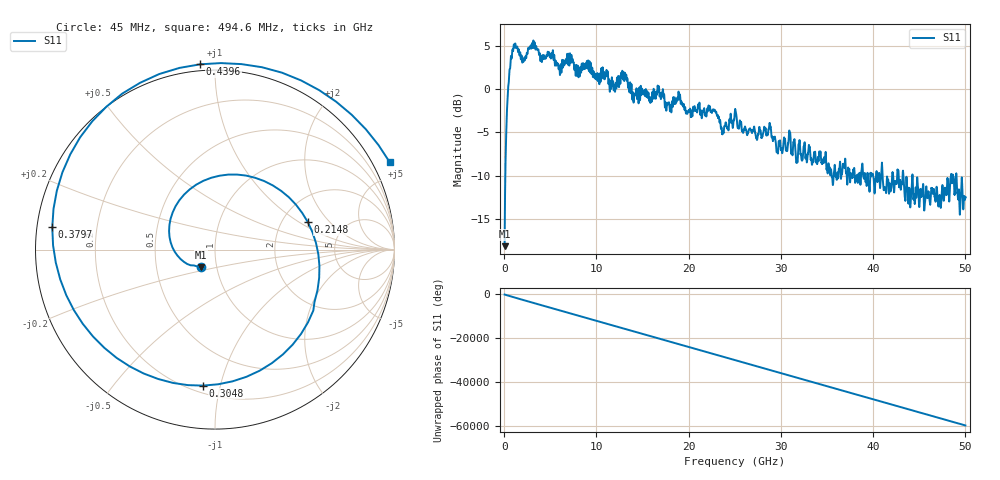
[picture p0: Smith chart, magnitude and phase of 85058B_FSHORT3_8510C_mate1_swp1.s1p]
!Created with skrf (http://scikit-rf.org).
# Hz S RI R 50.0
!freq ReS11 ImS11
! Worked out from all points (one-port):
!   10001 points, 45 MHz to 50 GHz, reference 50 ohm
!   lowest |S11| = -18.1 dB at 45 MHz (marker M1), VSWR 1.28, Z = 42.1 - j8.29 ohm
!   |S11| at or under -10 dB: 41.02 GHz to 42.06 GHz (1.041 GHz wide, 2.51 % of centre); 43.28 GHz to 44.24 GHz (965.8 MHz wide, 2.21 % of centre); 44.28 GHz to 48.43 GHz (4.153 GHz wide, 8.96 % of centre) (the widest 3 of 28)
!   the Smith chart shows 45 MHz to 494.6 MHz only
!   S11 on the Smith chart (normalised r, x): 45 MHz: 0.84, -0.17; 214.8 MHz: 2.77, +1.19; 304.8 MHz: 0.25, -0.89; 379.7 MHz: 0.04, +0.07; 439.6 MHz: -0.03, +0.92; 494.6 MHz: -0.77, +4.09
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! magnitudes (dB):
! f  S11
! 45 MHz  -18.1
! 214.8 MHz  -5.4
! 304.8 MHz  -2.4
! 379.7 MHz  -0.8
! 439.6 MHz  0.3
! 494.6 MHz  0.7
! 814.3 MHz  3.5
! 1.209 GHz  5.2
! 2.023 GHz  3.4
! 3.227 GHz  4.8
! 6.289 GHz  3.3
! 7.194 GHz  3.1
! 12.53 GHz  1.4
! 14.07 GHz  -1.0
! 18.78 GHz  -1.1
! 20.04 GHz  -2.5
! 22.8 GHz  -2.5
! 23.7 GHz  -5.0
! 25.02 GHz  -2.4
! 31.27 GHz  -7.6
! 34.36 GHz  -8.2
! 35.54 GHz  -10.1
! 37.51 GHz  -10.7
! 42.7 GHz  -9.4
! 43.76 GHz  -11.6
! 47.2 GHz  -12.3
! 48.55 GHz  -10.9
! 50 GHz  -12.5
